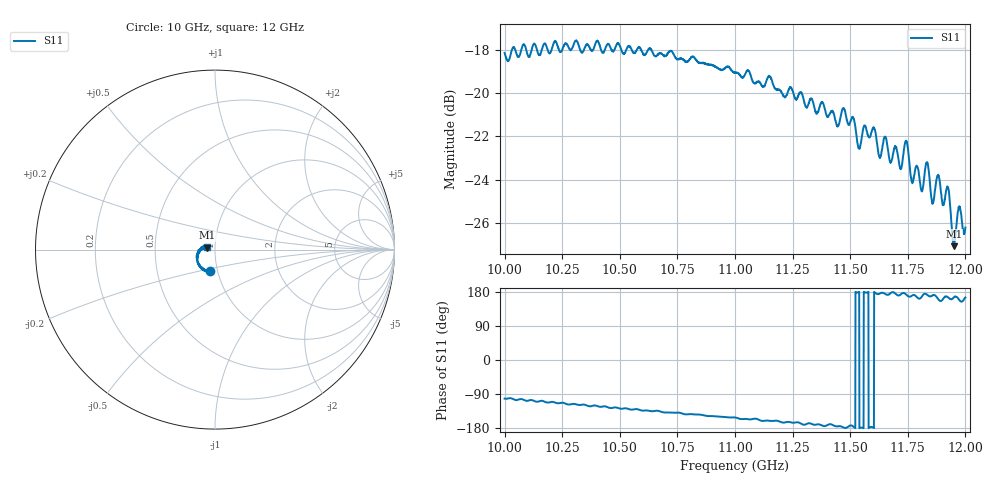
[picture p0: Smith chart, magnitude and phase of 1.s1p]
[Version] 2.0
! Rohde & Schwarz Vector Network Analyzer
! Rohde-Schwarz,ZNL20-2Port,1323001220200009,1.71.1.10-23.02.1.238
! Port Assignments:
! Nominal Port -> Actual Test Port
!  1 -> 1
! Created: GMT 2024-09-04 10:29:25
# Hz S DB R 50
[Number of Ports] 1
! freq[Hz]  S11[mag dB]  S11[ang]
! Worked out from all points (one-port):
!   2001 points, 10 GHz to 12 GHz, reference 50 ohm
!   lowest |S11| = -27.1 dB at 11.95 GHz (marker M1), VSWR 1.09, Z = 45.9 + j1.03 ohm
!   |S11| at or under -10 dB: start of sweep to end of sweep
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[Number of Frequencies] 28
[Network Data]
1e10  -18.15 -101.9
1.025e10  -18.00 -112.7
1.05e10  -17.82 -128.0
1.075e10  -18.45 -138.8
1.1e10  -19.04 -151.5
1.125e10  -19.89 -165.4
1.15e10  -21.36 -172.7
1.1539e10  -22.53 179.9
1.1564e10  -21.53 178.5
1.1604e10  -21.62 179.7
1.1628e10  -22.98 175.3
1.1652e10  -22.04 174.2
1.1673e10  -23.18 175.2
1.1697e10  -22.47 174.5
1.1718e10  -23.45 172.3
1.174e10  -22.23 174.3
1.175e10  -22.51 169.1
1.1769e10  -24.13 170.0
1.179e10  -23.38 165.7
1.1812e10  -24.55 168.1
1.1833e10  -23.21 172.7
1.1857e10  -25.11 170.7
1.188e10  -23.80 162.2
1.1903e10  -25.13 160.8
1.1923e10  -24.36 166.0
1.195e10  -27.07 165.4
1.1973e10  -25.28 158.9
1.2e10  -26.21 165.0
[End]
